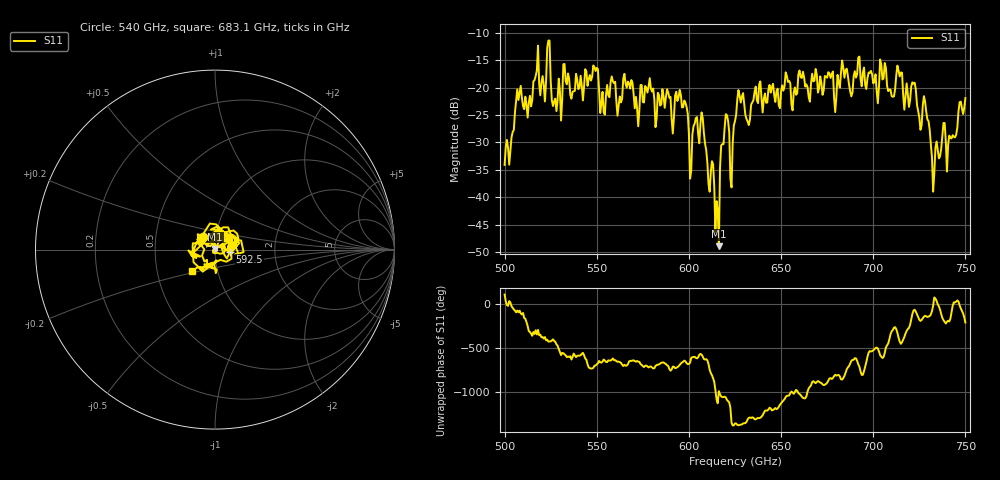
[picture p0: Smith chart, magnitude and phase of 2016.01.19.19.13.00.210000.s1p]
!Created with skrf (http://scikit-rf.org).
# GHz S RI R 50.0
!freq ReS11 ImS11
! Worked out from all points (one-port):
!   401 points, 500 GHz to 750 GHz, reference 50 ohm
!   lowest |S11| = -49.0 dB at 616.2 GHz (marker M1), VSWR 1.01, Z = 50 + j0.356 ohm
!   |S11| at or under -10 dB: start of sweep to end of sweep
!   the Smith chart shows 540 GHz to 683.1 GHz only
!   S11 on the Smith chart (normalised r, x): 540 GHz: 0.87, +0.12; 592.5 GHz: 1.18, -0.03; 683.1 GHz: 0.75, -0.19
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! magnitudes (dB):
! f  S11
! 500 GHz  -34.1
! 507.5 GHz  -22.2
! 513.8 GHz  -21.5
! 516.9 GHz  -17.8
! 531.2 GHz  -22.1
! 540 GHz  -20.2
! 562.5 GHz  -21.6
! 565.6 GHz  -19.2
! 571.9 GHz  -23.8
! 577.5 GHz  -20.9
! 592.5 GHz  -21.4
! 593.8 GHz  -22.4
! 601.2 GHz  -35.2
! 607.5 GHz  -25.6
! 615 GHz  -40.7
! 616.2 GHz  -49.0
! 619.4 GHz  -27.4
! 623.1 GHz  -38.2
! 625 GHz  -26.1
! 628.1 GHz  -22.7
! 656.2 GHz  -24.1
! 683.1 GHz  -15.0
! 687.5 GHz  -20.7
! 705 GHz  -18.5
! 718.8 GHz  -21.1
! 728.1 GHz  -22.5
! 732.5 GHz  -39.0
! 750 GHz  -21.9
